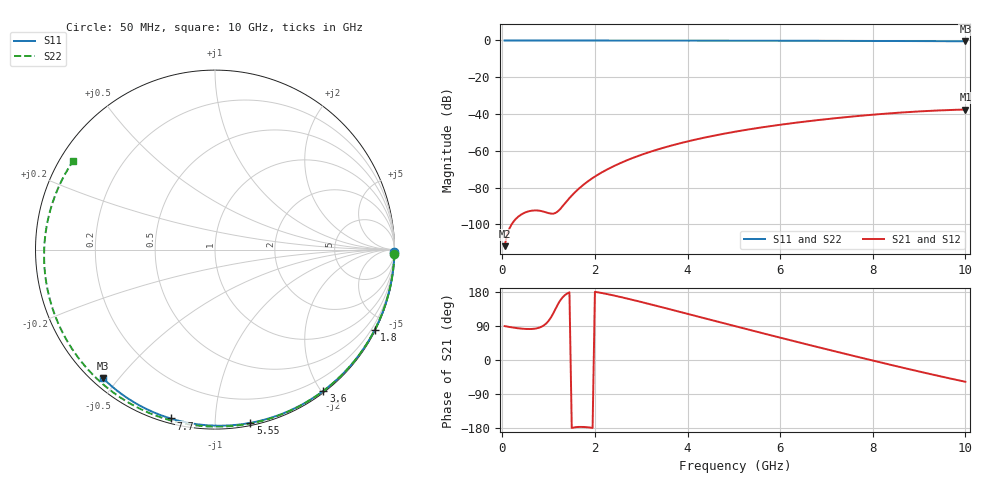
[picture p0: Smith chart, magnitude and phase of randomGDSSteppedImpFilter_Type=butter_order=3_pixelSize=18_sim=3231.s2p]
! freq	dB(S11)	phase(S11)	dB(S12)	phase(S12)
!  dB(S21)	phase(S21)	dB(S22)	phase(S22)
!S-par simulation data
#  GHz  S  DB  R 50
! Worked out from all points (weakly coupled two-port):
!   200 points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, 50 MHz to 10 GHz, reference 50 ohm
!   highest |S21| = -37.57 dB at 10 GHz (marker M1); lowest = -111.9 dB at 50 MHz (marker M2)
!   lowest |S11| = -0.4 dB at 10 GHz (marker M3), VSWR 39.24, Z = 1.54 - j22.8 ohm
!   |S11| at or under -10 dB: nowhere
!   |S22| runs from -0.6 to 0.0 dB; largest |S21 - S12| = 0
!   S11 on the Smith chart (normalised r, x): 50 MHz: open; 1.8 GHz: 0.04, -4.19; 3.6 GHz: 0.02, -2.03; 5.55 GHz: 0.02, -1.23; 7.7 GHz: 0.02, -0.77; 10 GHz: 0.03, -0.46
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0.05  -0.00 -0.8  -111.90 89.5  -111.90 89.5  -0.00 -1.3
0.4  -0.01 -6.0  -94.84 82.9  -94.84 82.9  -0.01 -10.1
0.8  -0.02 -12.0  -92.60 85.4  -92.60 85.4  -0.03 -20.0
1.2  -0.02 -18.0  -92.96 146.8  -92.96 146.8  -0.04 -29.9
1.65  -0.03 -24.6  -80.67 -176.6  -80.67 -176.6  -0.05 -40.8
1.7  -0.03 -25.4  -79.58 -176.5  -79.58 -176.5  -0.05 -41.9
1.75  -0.03 -26.1  -78.54 -176.7  -78.54 -176.7  -0.05 -43.1
1.8  -0.03 -26.8  -77.55 -177.1  -77.55 -177.1  -0.06 -44.3
2.1  -0.04 -31.2  -72.48 177.9  -72.48 177.9  -0.06 -51.4
2.5  -0.05 -37.0  -67.27 167.8  -67.27 167.8  -0.08 -60.7
2.9  -0.06 -42.7  -63.14 156.1  -63.14 156.1  -0.09 -69.7
3.4  -0.07 -49.7  -58.96 140.7  -58.96 140.7  -0.10 -80.7
3.6  -0.07 -52.5  -57.52 134.5  -57.52 134.5  -0.11 -85.0
4.3  -0.09 -62.0  -53.20 112.3  -53.20 112.3  -0.14 -99.7
5.05  -0.11 -72.0  -49.53 88.6  -49.53 88.6  -0.17 -114.8
5.55  -0.13 -78.4  -47.49 72.9  -47.49 72.9  -0.20 -124.6
6.15  -0.15 -86.0  -45.35 54.3  -45.35 54.3  -0.23 -136.1
6.7  -0.18 -92.8  -43.65 37.5  -43.65 37.5  -0.27 -146.6
7.7  -0.24 -104.7  -41.04 7.4  -41.04 7.4  -0.36 -165.6
8.35  -0.29 -112.3  -39.68 -11.7  -39.68 -11.7  -0.42 -178.2
9.2  -0.36 -122.0  -38.33 -36.0  -38.33 -36.0  -0.51 164.8
10  -0.44 -131.0  -37.57 -57.5  -37.57 -57.5  -0.61 148.0
